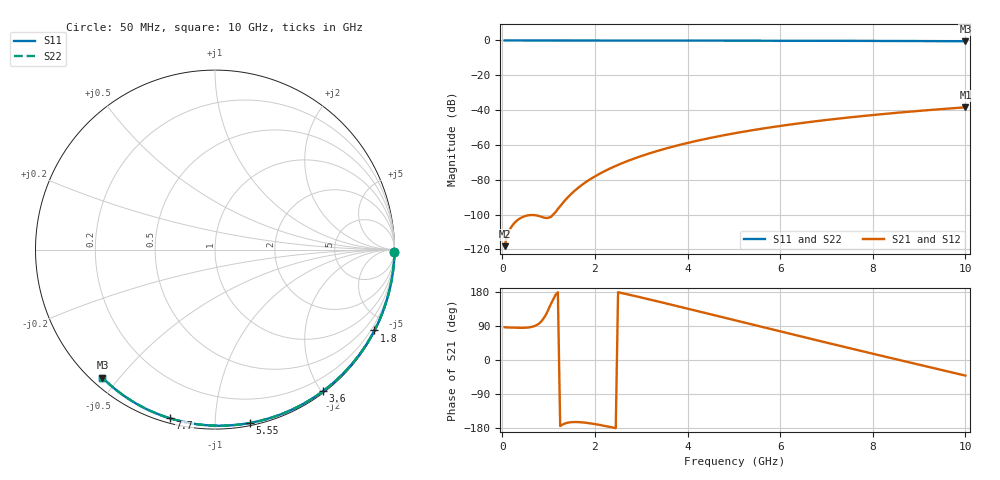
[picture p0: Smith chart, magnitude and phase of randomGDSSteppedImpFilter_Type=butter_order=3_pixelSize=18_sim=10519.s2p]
! freq	dB(S11)	phase(S11)	dB(S12)	phase(S12)
!  dB(S21)	phase(S21)	dB(S22)	phase(S22)
!S-par simulation data
#  GHz  S  DB  R 50
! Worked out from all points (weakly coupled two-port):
!   200 points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, 50 MHz to 10 GHz, reference 50 ohm
!   highest |S21| = -38.41 dB at 10 GHz (marker M1); lowest = -118.2 dB at 50 MHz (marker M2)
!   lowest |S11| = -0.4 dB at 10 GHz (marker M3), VSWR 39.04, Z = 1.54 - j22.6 ohm
!   |S11| at or under -10 dB: nowhere
!   |S22| runs from -0.4 to 0.0 dB; largest |S21 - S12| = 0
!   S11 on the Smith chart (normalised r, x): 50 MHz: open; 1.8 GHz: 0.04, -4.18; 3.6 GHz: 0.02, -2.02; 5.55 GHz: 0.02, -1.22; 7.7 GHz: 0.02, -0.77; 10 GHz: 0.03, -0.45
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0.05  -0.00 -0.8  -118.16 86.5  -118.16 86.5  -0.00 -0.8
0.9  -0.02 -13.6  -101.74 111.4  -101.74 111.4  -0.02 -13.6
1.75  -0.03 -26.2  -82.38 -164.9  -82.38 -164.9  -0.03 -26.2
1.8  -0.03 -26.9  -81.44 -165.5  -81.44 -165.5  -0.03 -26.9
1.85  -0.04 -27.6  -80.55 -166.3  -80.55 -166.3  -0.04 -27.6
1.9  -0.04 -28.4  -79.69 -167.2  -79.69 -167.2  -0.04 -28.4
2.05  -0.04 -30.6  -77.32 -170.2  -77.32 -170.2  -0.04 -30.6
2.25  -0.04 -33.5  -74.51 -174.8  -74.51 -174.8  -0.04 -33.5
2.45  -0.05 -36.4  -72.03 -179.9  -72.03 -179.9  -0.05 -36.4
2.65  -0.05 -39.2  -69.81 174.8  -69.81 174.8  -0.05 -39.2
3  -0.06 -44.2  -66.40 165.0  -66.40 165.0  -0.06 -44.2
3.4  -0.07 -49.8  -63.07 153.3  -63.07 153.3  -0.07 -49.8
3.6  -0.07 -52.6  -61.58 147.4  -61.58 147.4  -0.07 -52.6
4.3  -0.09 -62.2  -57.07 126.6  -57.07 126.6  -0.09 -62.2
5.05  -0.11 -72.1  -53.14 104.0  -53.14 104.0  -0.11 -72.1
5.55  -0.13 -78.6  -50.91 89.0  -50.91 89.0  -0.13 -78.6
6.1  -0.15 -85.5  -48.73 72.6  -48.73 72.6  -0.15 -85.5
6.7  -0.18 -93.0  -46.62 54.7  -46.62 54.7  -0.18 -93.0
7.7  -0.24 -104.9  -43.63 25.3  -43.63 25.3  -0.24 -104.9
8.35  -0.29 -112.5  -41.95 6.4  -41.95 6.4  -0.29 -112.5
9.15  -0.36 -121.7  -40.12 -16.7  -40.12 -16.7  -0.36 -121.7
10  -0.45 -131.3  -38.41 -41.2  -38.41 -41.2  -0.45 -131.3
